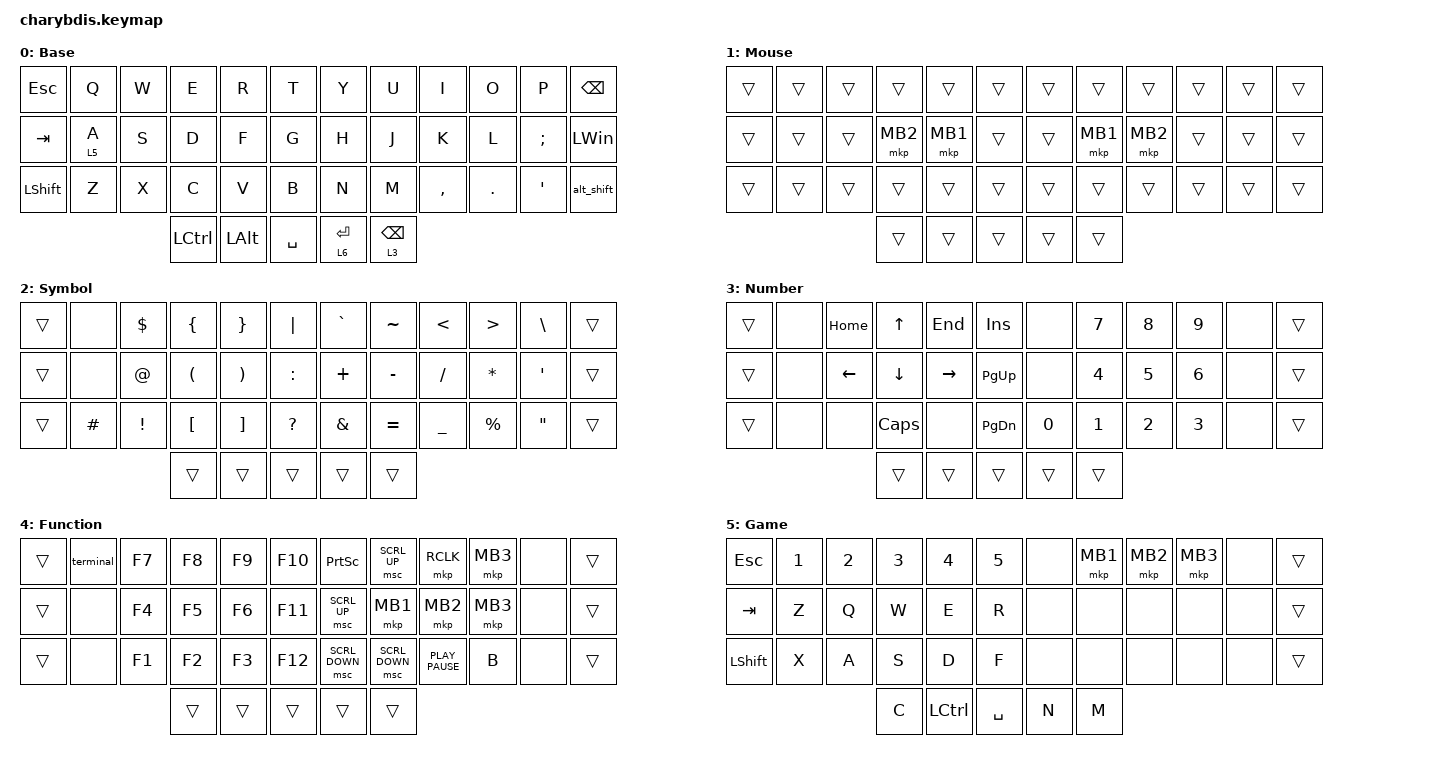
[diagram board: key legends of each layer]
#include <behaviors.dtsi>
#include <dt-bindings/zmk/keys.h>
#include <dt-bindings/zmk/pointing.h>

#define BASE 0
#define MOUSE 1
#define SYMBOL 2
#define NUMBER 3
#define FUNCTION 4
#define GAME 5
#define RESET 6
#define KEYS_L 0 1 2 3 4 10 11 12 13 14 20 21 22 23 24
#define KEYS_R 5 6 7 8 9 15 16 17 18 19 25 26 27 28 29
#define THUMBS 30 31 32 33 34 35

&sk {
    release-after-ms = <600>;
    quick-release;
};

&sl { ignore-modifiers; };

&mt { flavor = "tap-preferred"; };

&lt {
    flavor = "balanced";
    tapping-term-ms = <200>;
    quick-tap-ms = <175>;
};

&caps_word { /delete-property/ ignore-modifiers; };

/ {
    behaviors {
        hml: hml {
            compatible = "zmk,behavior-hold-tap";
            #binding-cells = <2>;
            flavor = "balanced";
            tapping-term-ms = <2000>;
            quick-tap-ms = <175>;
            require-prior-idle-ms = <250>;
            hold-trigger-key-positions = <KEYS_R THUMBS>;
            hold-trigger-on-release;
            bindings = <&kp>, <&kp>;
        };

        hmr: hmr {
            compatible = "zmk,behavior-hold-tap";
            #binding-cells = <2>;
            flavor = "balanced";
            tapping-term-ms = <2000>;
            quick-tap-ms = <175>;
            require-prior-idle-ms = <250>;
            hold-trigger-key-positions = <KEYS_L THUMBS>;
            hold-trigger-on-release;
            bindings = <&kp>, <&kp>;
        };

        hml_s: hml_s {
            compatible = "zmk,behavior-hold-tap";
            #binding-cells = <2>;
            flavor = "balanced";
            tapping-term-ms = <2000>;
            quick-tap-ms = <175>;
            require-prior-idle-ms = <0>;
            hold-trigger-key-positions = <KEYS_R THUMBS>;
            hold-trigger-on-release;
            bindings = <&kp>, <&kp>;
        };

        hmr_s: hmr_s {
            compatible = "zmk,behavior-hold-tap";
            #binding-cells = <2>;
            flavor = "balanced";
            tapping-term-ms = <2000>;
            quick-tap-ms = <175>;
            require-prior-idle-ms = <0>;
            hold-trigger-key-positions = <KEYS_L THUMBS>;
            hold-trigger-on-release;
            bindings = <&kp>, <&kp>;
        };

        smart_shift: smart_shift {
            compatible = "zmk,behavior-mod-morph";
            #binding-cells = <0>;
            bindings = <&sk LSHIFT>, <&caps_word>;

            mods = <(MOD_LSFT)>;
        };
    };

    combos {
        compatible = "zmk,combos";
        timeout-ms = <20>;
        require-prior-idle-ms = <250>;

        combo_normal {
            key-positions = <7 8>;
            bindings = <&to 0>;
        };

        combo_fn {
            key-positions = <27 28>;
            bindings = <&sl 6>;
        };

        combo_genshin {
            key-positions = <5 9>;
            bindings = <&to 6>;
        };

        combo_esc {
            key-positions = <1 2>;
            bindings = <&kp ESCAPE>;
        };

        combo_tab {
            key-positions = <2 3>;
            bindings = <&kp TAB>;
        };

        combo_cdel {
            key-positions = <11 12>;
            bindings = <&kp LC(BACKSPACE)>;
        };
    };

    chosen { zmk,physical-layout = &charybdis_6col_layout; };

    macros {
        alt_shift: alt_shift {
            compatible = "zmk,behavior-macro";
            #binding-cells = <0>;
            bindings =
                <&macro_press>,
                <&kp LEFT_ALT &kp LEFT_SHIFT>,
                <&macro_release>,
                <&kp LEFT_ALT &kp LEFT_SHIFT>;

            label = "ALT_SHIFT";
        };

        terminal: terminal {
            compatible = "zmk,behavior-macro";
            #binding-cells = <0>;
            bindings =
                <&macro_press>,
                <&kp LEFT_WIN &kp GRAVE>,
                <&macro_release>,
                <&kp LEFT_WIN &kp GRAVE>;

            label = "TERMINAL";
        };
    };

    keymap {
        compatible = "zmk,keymap";

        //&trans &kp ESC        &kp Q       &kp W      &kp E     &kp R           &kp T   &kp Y  &kp U           &kp I        &kp O     &kp P      &kp LBKT   &trans
        //&mt LCTRL TAB  &kp A       &kp S      &kp D     &kp F           &kp G   &kp H  &kp J           &kp K        &kp L     &kp SEMI   &kp SQT
        //&kp LSHFT      &kp Z       &kp X      &kp C     &kp V           &kp B   &kp N  &kp M           &kp COMMA    &kp DOT   &kp FSLH   &mt RALT GRAVE
        //               &kp LGUI    &mo 1      &lt NAVI RET              &kp SPACE       &kp BSPC    &kp CAPSLOCK

        Base {
            display-name = "Base";
            bindings = <
&kp ESC         &kp Q    &kp W  &kp E      &kp R         &kp T        &kp Y        &kp U            &kp I      &kp O       &kp P          &kp BACKSPACE
&kp TAB         &lt 5 A  &kp S  &kp D      &kp F         &kp G        &kp H        &kp J            &kp K      &kp L       &kp SEMICOLON  &kp LEFT_WIN
&kp LEFT_SHIFT  &kp Z    &kp X  &kp C      &kp V         &kp B        &kp N        &kp M            &kp COMMA  &kp PERIOD  &kp SQT        &alt_shift
                                &kp LCTRL  &kp LEFT_ALT  &kp SPACE    &lt 6 ENTER  &lt 3 BACKSPACE
            >;
        };

        Mouse {
            bindings = <
&trans  &trans  &trans  &trans    &trans    &trans    &trans  &trans    &trans    &trans  &trans  &trans
&trans  &trans  &trans  &mkp MB2  &mkp MB1  &trans    &trans  &mkp MB1  &mkp MB2  &trans  &trans  &trans
&trans  &trans  &trans  &trans    &trans    &trans    &trans  &trans    &trans    &trans  &trans  &trans
                        &trans    &trans    &trans    &trans  &trans
            >;
        };

        Sym {
            display-name = "Symbol";
            bindings = <
&trans  &none      &kp DOLLAR       &kp LEFT_BRACE        &kp RIGHT_BRACE        &kp PIPE        &kp GRAVE  &kp TILDE  &kp LESS_THAN  &kp GREATER_THAN  &kp BACKSLASH      &trans
&trans  &none      &kp AT_SIGN      &kp LEFT_PARENTHESIS  &kp RIGHT_PARENTHESIS  &kp COLON       &kp PLUS   &kp MINUS  &kp SLASH      &kp ASTRK         &kp SINGLE_QUOTE   &trans
&trans  &kp POUND  &kp EXCLAMATION  &kp LEFT_BRACKET      &kp RIGHT_BRACKET      &kp QUESTION    &kp AMPS   &kp EQUAL  &kp UNDER      &kp PERCENT       &kp DOUBLE_QUOTES  &trans
                                    &trans                &trans                 &trans          &trans     &trans
            >;
        };

        Num {
            display-name = "Number";
            bindings = <
&trans  &none  &kp HOME  &kp UP_ARROW  &kp END    &kp INSERT       &none         &kp NUMBER_7  &kp NUMBER_8  &kp NUMBER_9  &none  &trans
&trans  &none  &kp LEFT  &kp DOWN      &kp RIGHT  &kp PAGE_UP      &none         &kp NUMBER_4  &kp NUMBER_5  &kp NUMBER_6  &none  &trans
&trans  &none  &none     &kp CAPSLOCK  &none      &kp PAGE_DOWN    &kp NUMBER_0  &kp NUMBER_1  &kp NUMBER_2  &kp NUMBER_3  &none  &trans
                         &trans        &trans     &trans           &trans        &trans
            >;
        };

        Fun {
            display-name = "Function";
            bindings = <
&trans  &terminal  &kp F7  &kp F8  &kp F9  &kp F10    &kp PRINTSCREEN  &msc SCRL_UP    &mkp RCLK         &mkp MB3  &none  &trans
&trans  &none      &kp F4  &kp F5  &kp F6  &kp F11    &msc SCRL_UP     &mkp MB1        &mkp MB2          &mkp MB3  &none  &trans
&trans  &none      &kp F1  &kp F2  &kp F3  &kp F12    &msc SCRL_DOWN   &msc SCRL_DOWN  &kp K_PLAY_PAUSE  &kp B     &none  &trans
                           &trans  &trans  &trans     &trans           &trans
            >;
        };

        Button {
            display-name = "Game";
            bindings = <
&kp ESCAPE      &kp NUMBER_1  &kp NUMBER_2  &kp NUMBER_3  &kp NUMBER_4  &kp N5       &none  &mkp MB1  &mkp MB2  &mkp MB3  &none  &trans
&kp TAB         &kp Z         &kp Q         &kp W         &kp E         &kp R        &none  &none     &none     &none     &none  &trans
&kp LEFT_SHIFT  &kp X         &kp A         &kp S         &kp D         &kp F        &none  &none     &none     &none     &none  &trans
                                            &kp C         &kp LCTRL     &kp SPACE    &kp N  &kp M
            >;
        };
    };
};
